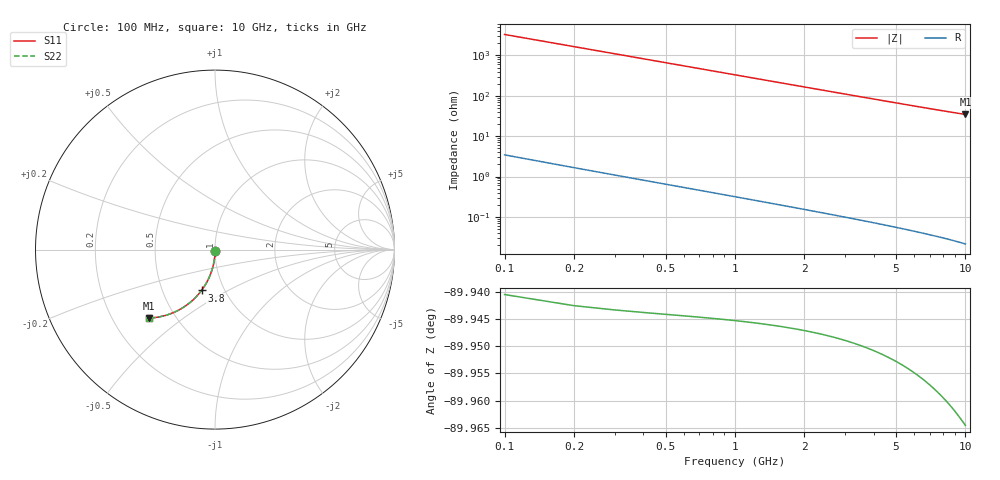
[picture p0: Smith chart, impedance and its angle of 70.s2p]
# Hz S RI R 50.00
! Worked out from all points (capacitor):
!   100 points, 100 MHz to 10 GHz, reference 50 ohm
!   read as one part in shunt: C = 481 fF near 100 MHz
!   lowest |Z| = 34.6 ohm at 10 GHz (marker M1)
!   S11 on the Smith chart (normalised r, x): 100 MHz: 1.00, -0.01; 3.8 GHz: 0.78, -0.38; 10 GHz: 0.36, -0.38
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1e8  0.000438 -0.00654  0.9994 -0.00856  0.9994 -0.00856  0.000438 -0.00654
2e8  0.000266 -0.0131  0.9992 -0.0171  0.9992 -0.0171  0.000266 -0.0131
3e8  -1.86e-05 -0.0196  0.9989 -0.0257  0.9989 -0.0257  -1.86e-05 -0.0196
4e8  -0.000415 -0.0261  0.9985 -0.0342  0.9985 -0.0342  -0.000415 -0.0261
5e8  -0.000924 -0.0326  0.998 -0.0428  0.998 -0.0428  -0.000924 -0.0326
6e8  -0.00154 -0.0391  0.9974 -0.0513  0.9974 -0.0513  -0.00154 -0.0391
7e8  -0.00227 -0.0456  0.9966 -0.0598  0.9966 -0.0598  -0.00227 -0.0456
8e8  -0.00312 -0.0521  0.9957 -0.0683  0.9957 -0.0683  -0.00312 -0.0521
9e8  -0.00407 -0.0586  0.9947 -0.0768  0.9947 -0.0768  -0.00407 -0.0586
1.1e9  -0.0063 -0.0714  0.9924 -0.0937  0.9924 -0.0937  -0.0063 -0.0714
1.4e9  -0.0105 -0.0904  0.9881 -0.1188  0.9881 -0.1188  -0.0105 -0.0904
1.8e9  -0.0175 -0.1154  0.9808 -0.1519  0.9808 -0.1519  -0.0175 -0.1154
2.1e9  -0.0238 -0.1337  0.9742 -0.1762  0.9742 -0.1762  -0.0238 -0.1337
2.5e9  -0.0336 -0.1574  0.964 -0.2081  0.964 -0.2081  -0.0336 -0.1574
2.9e9  -0.0449 -0.1802  0.9523 -0.239  0.9523 -0.239  -0.0449 -0.1802
3.4e9  -0.0609 -0.2073  0.9356 -0.2763  0.9356 -0.2763  -0.0609 -0.2073
3.8e9  -0.0751 -0.2277  0.9208 -0.305  0.9208 -0.305  -0.0751 -0.2277
4.4e9  -0.0986 -0.2562  0.8963 -0.3457  0.8963 -0.3457  -0.0986 -0.2562
5.1e9  -0.1285 -0.2858  0.8649 -0.3897  0.8649 -0.3897  -0.1285 -0.2858
6.7e9  -0.2044 -0.338  0.785 -0.4751  0.785 -0.4751  -0.2044 -0.338
8.4e9  -0.2897 -0.3703  0.694 -0.5432  0.694 -0.5432  -0.2897 -0.3703
1e10  -0.3684 -0.3812  0.6086 -0.5884  0.6086 -0.5884  -0.3684 -0.3812
